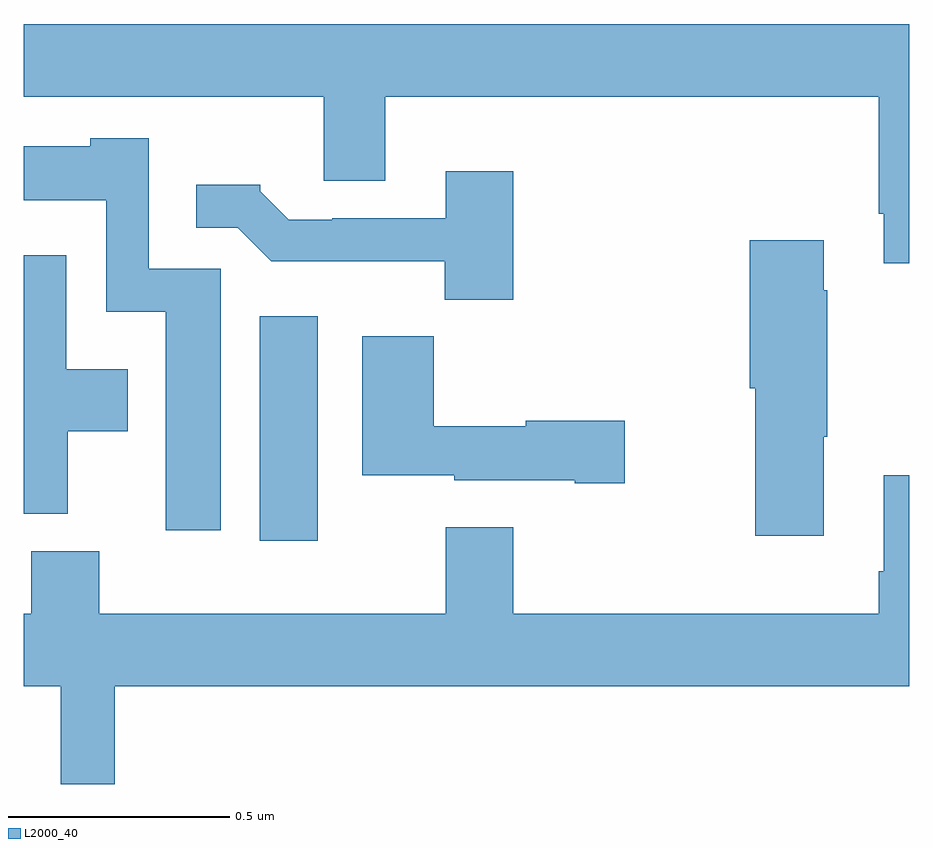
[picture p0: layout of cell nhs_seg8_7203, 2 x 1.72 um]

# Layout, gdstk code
import gdstk
lib = gdstk.Library(unit=1e-6, precision=1e-09)
def R(c, l, rs):  # rectangles x0, y0, x1, y1
    for r in rs: c.add(gdstk.rectangle(r[:2], r[2:], *l))
def P(c, l, *ps):  # polygons
    for p in ps: c.add(gdstk.Polygon(p, *l))
L2000_40 = (2000, 40)

nhs_seg8_7203 = lib.new_cell('nhs_seg8_7203')
R(nhs_seg8_7203, L2000_40, [(207.533,1091.52,207.664,1092.028)])
P(nhs_seg8_7203, L2000_40, [(209,1092.688),(207,1092.688),(207,1092.524),(207.677,1092.524),(207.677,1092.334),(207.817,1092.334),(207.817,1092.524),(208.931,1092.524),(208.931,1092.259),(208.943,1092.259),(208.943,1092.147),(209,1092.147)],
  [(207.445,1092.135),(207.282,1092.135),(207.282,1092.43),(207.15,1092.43),(207.15,1092.412),(207,1092.412),(207,1092.29),(207.186,1092.29),(207.186,1092.038),(207.32,1092.038),(207.32,1091.544),(207.445,1091.544)],
  [(208.106,1092.355),(207.953,1092.355),(207.953,1092.249),(207.697,1092.249),(207.697,1092.246),(207.598,1092.246),(207.534,1092.31),(207.534,1092.325),(207.39,1092.325),(207.39,1092.228),(207.483,1092.228),(207.559,1092.152),(207.951,1092.152),(207.951,1092.065),(208.106,1092.065)],
  [(208.807,1091.755),(208.815,1091.755),(208.815,1092.086),(208.807,1092.086),(208.807,1092.199),(208.64,1092.199),(208.64,1091.865),(208.652,1091.865),(208.652,1091.532),(208.807,1091.532)],
  [(207.099,1091.768),(207.235,1091.768),(207.235,1091.908),(207.096,1091.908),(207.096,1092.165),(207,1092.165),(207,1091.582),(207.099,1091.582)],
  [(208.357,1091.792),(208.134,1091.792),(208.134,1091.779),(207.926,1091.779),(207.926,1091.983),(207.764,1091.983),(207.764,1091.669),(207.972,1091.669),(207.972,1091.657),(208.244,1091.657),(208.244,1091.65),(208.357,1091.65)],
  [(207.205,1091.192),(209,1091.192),(209,1091.668),(208.943,1091.668),(208.943,1091.452),(208.931,1091.452),(208.931,1091.356),(208.106,1091.356),(208.106,1091.551),(207.953,1091.551),(207.953,1091.356),(207.17,1091.356),(207.17,1091.497),(207.017,1091.497),(207.017,1091.356),(207,1091.356),(207,1091.192),(207.083,1091.192),(207.083,1090.971),(207.205,1090.971)])

lib.write_gds('nhs_seg8_7203.gds')
